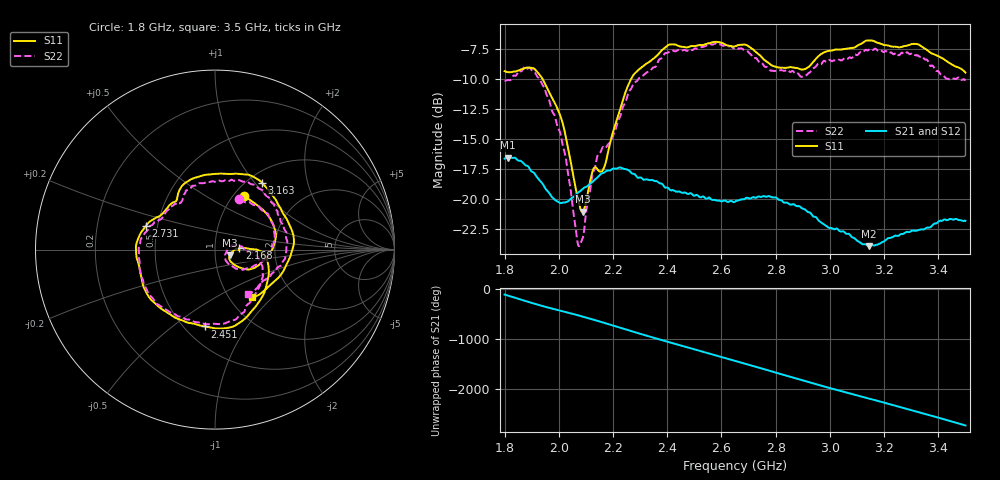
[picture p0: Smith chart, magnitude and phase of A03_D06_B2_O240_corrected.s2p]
! Created with skrf 1.9.0 (http://scikit-rf.org).
# Hz S RI R 50.0
!freq ReS11 ImS11 ReS21 ImS21 ReS12 ImS12 ReS22 ImS22
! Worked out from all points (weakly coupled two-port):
!   1601 points, 1.8 GHz to 3.5 GHz, reference 50 ohm
!   highest |S21| = -16.56 dB at 1.812 GHz (marker M1); lowest = -24.0 dB at 3.143 GHz (marker M2)
!   lowest |S11| = -21.1 dB at 2.088 GHz (marker M3), VSWR 1.19, Z = 58.8 - j3.85 ohm
!   |S11| at or under -10 dB: 1.94 GHz to 2.266 GHz (326.2 MHz wide, 15.5 % of centre)
!   |S22| runs from -24.0 to -7.0 dB; largest |S21 - S12| = 0.0024
!   S11 on the Smith chart (normalised r, x): 1.8 GHz: 1.12, +0.76; 2.168 GHz: 1.31, +0.02; 2.451 GHz: 0.63, -0.66; 2.731 GHz: 0.43, +0.14; 3.163 GHz: 1.16, +1.09; 3.5 GHz: 1.27, -0.76
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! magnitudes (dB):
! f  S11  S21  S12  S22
! 1.8 GHz  -9.3  -16.7  -16.7  -10.1
! 1.812 GHz  -9.4  -16.6  -16.6  -10.1
! 1.888 GHz  -9.0  -17.3  -17.4  -9.1
! 1.943 GHz  -10.1  -18.9  -18.9  -10.6
! 2.011 GHz  -13.5  -20.4  -20.3  -15.2
! 2.068 GHz  -19.8  -19.6  -19.6  -23.5
! 2.084 GHz  -21.0  -19.3  -19.2  -23.6
! 2.088 GHz  -21.1  -19.2  -19.2  -23.3
! 2.129 GHz  -17.5  -18.5  -18.5  -17.7
! 2.168 GHz  -17.4  -17.8  -17.8  -15.7
! 2.263 GHz  -10.1  -17.7  -17.7  -10.9
! 2.367 GHz  -7.9  -18.6  -18.6  -8.5
! 2.451 GHz  -7.3  -19.5  -19.5  -7.6
! 2.65 GHz  -7.3  -20.2  -20.2  -7.4
! 2.731 GHz  -7.8  -19.9  -19.9  -8.3
! 2.81 GHz  -9.0  -20.1  -20.0  -9.3
! 2.934 GHz  -8.7  -21.4  -21.3  -9.2
! 3.143 GHz  -6.8  -24.0  -23.9  -7.6
! 3.163 GHz  -6.8  -23.9  -23.9  -7.5
! 3.217 GHz  -7.2  -23.3  -23.3  -7.8
! 3.325 GHz  -7.1  -22.6  -22.6  -8.0
! 3.5 GHz  -9.5  -21.9  -21.8  -10.1
